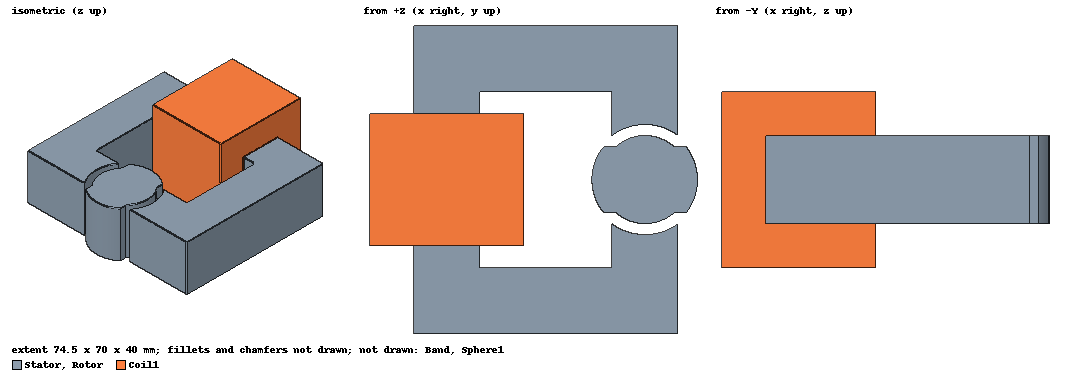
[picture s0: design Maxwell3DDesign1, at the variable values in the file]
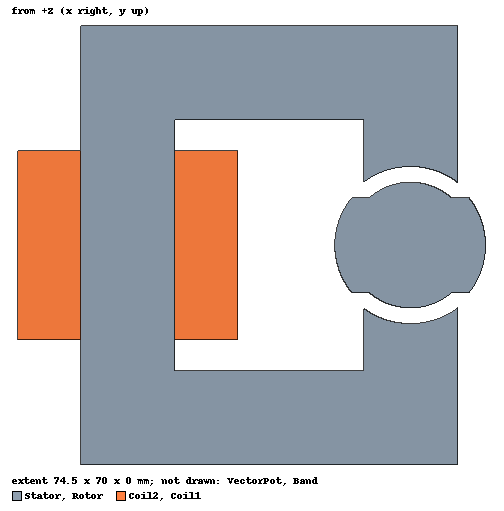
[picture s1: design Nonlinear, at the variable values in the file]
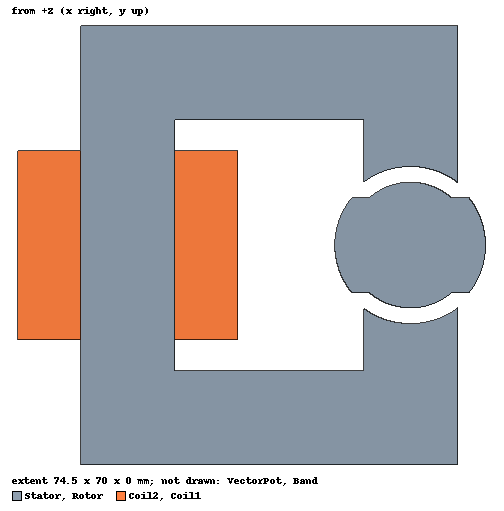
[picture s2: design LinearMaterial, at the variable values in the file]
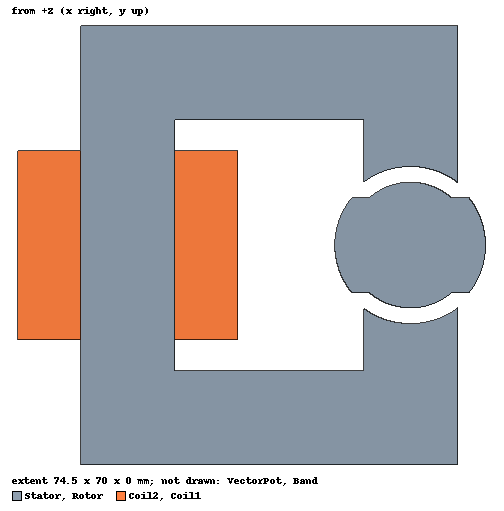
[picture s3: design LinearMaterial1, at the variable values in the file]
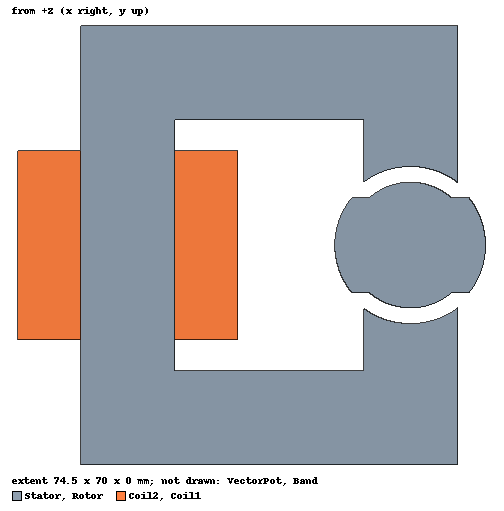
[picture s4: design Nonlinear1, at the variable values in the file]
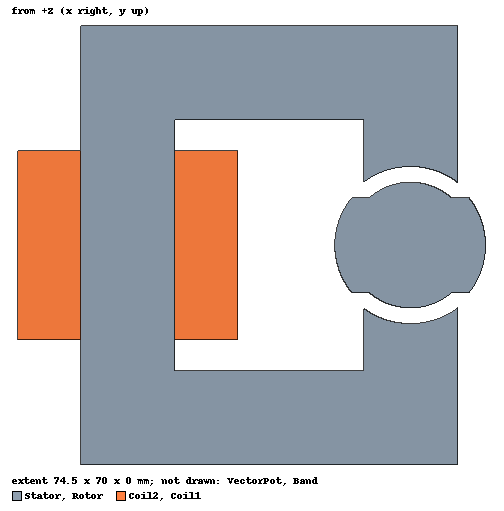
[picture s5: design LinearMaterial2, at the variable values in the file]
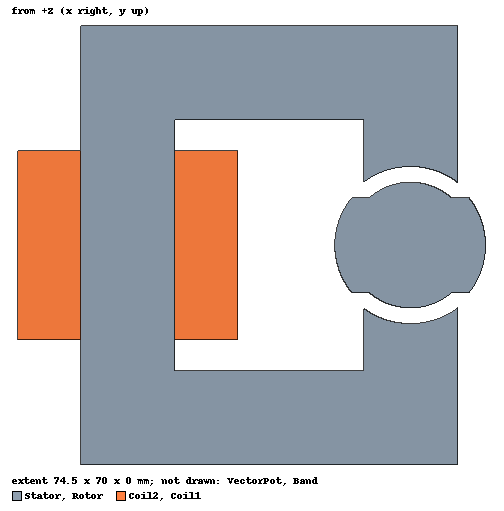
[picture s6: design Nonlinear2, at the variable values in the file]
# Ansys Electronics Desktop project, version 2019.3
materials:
  vacuum: permittivity=1
  copper: permeability=0.999991 conductivity=58000000
  m270-35a: permeability{HUnit=A_per_meter BUnit=tesla curve (0, 0) (30, 0.1) (39.6, 0.2) (46, 0.3) (52, 0.4) (58.2, 0.5) (65.2, 0.6) (73.3, 0.7) (83.1, 0.8) (95.5, 0.9) (112, 1) (136, 1.1) (178, 1.2) (272, 1.3) (596, 1.4) (1700, 1.5) (3880, 1.6) (7160, 1.7) (11600, 1.8)} conductivity=1/52*1e8
  m270-35a-lin: permeability{HUnit=A_per_meter BUnit=tesla curve (0, 0) (30, 0.1) (39.6, 0.2) (46, 0.3) (52, 0.4) (58.2, 0.5) (65.2, 0.6) (73.3, 0.7) (83.1, 0.8) (95.5, 0.9) (112, 1) (136, 1.1) (178, 1.2) (272, 1.3) (596, 1.4) (1700, 1.5) (3880, 1.6) (7160, 1.7) (11600, 1.8)} conductivity=1/52*1e8
  m270-35a-lin1: permeability=5000 conductivity=1/52*1e8

design Maxwell3DDesign1 (Maxwell 3D, Transient, model units mm)
options: ComputeTransientInductance Multiplier=1
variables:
  angle = 90deg
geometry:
  Stator [m270-35a-lin] = rectangle(corner=(0mm, 0mm, 0mm), x_size=60mm, y_size=70mm)
  Rectangle2 = rectangle(corner=(15mm, 15mm, 0mm), x_size=30mm, y_size=40mm)
  Stator.subtract(Rectangle2)
  Circle1 = circle(normal=Z, centre=(52.5mm, 35mm, 0mm), radius=12.5mm)
  Stator.subtract(Circle1)
  Circle2 = circle(normal=Z, centre=(52.5mm, 35mm, 0mm), radius=12mm)
  Rectangle3 = rectangle(corner=(45mm, 50mm, 0mm), x_size=15mm, y_size=-31.25mm)
  Circle2.intersect(Rectangle3)
  Rotor [m270-35a-lin] = circle(normal=Z, centre=(52.5mm, 35mm, 0mm), radius=10mm)
  Rotor.unite(Circle2)
  Coil1 [copper] = rectangle(corner=(0mm, 20mm, 0mm), x_size=-10mm, y_size=30mm)
  Coil2 = Coil1.duplicate_mirror(point=(0mm, 20mm, 0mm), normal=(1mm, 0mm, 0mm))
  Coil2.move(15mm, 0mm, 0mm)
  coordinate_system RelativeCS1 = origin=(52.5mm, 35mm, 0mm) x=(1mm, 0mm, 0mm) y=(0mm, 1mm, 0mm)
  Rotor.rotate(axis=Z, angle=angle) in RelativeCS1
  Band [vacuum] = circle(normal=Z, centre=(0mm, 0mm, 0mm), radius=12.206556mm) in RelativeCS1
  [Stator, Rotor, Coil1, Coil2].sweep_along_vector((0meter, 0meter, 20mm))
  Band.sweep_along_vector((0meter, 0meter, 25mm))
  Box1 = box(corner=(25mm, 50mm, 20mm), size=(-35mm, -30mm, 10mm))
  Box1_1 = Box1.duplicate_along_line(step=(0mm, 0mm, -30mm), total=2)
  Coil1.unite(Box1, Coil2, Box1_1)
  Coil1.fillet(Edges=Coil1.edge(3 of 12, 7 of 12, 5 of 12, 1 of 12) Radius=10mm Setback=0mm)
  Rectangle4 [non-model] = rectangle(corner=(7.5mm, 20mm, 30mm), y_size=30mm, z_size=-10mm)
  Sphere1 [vacuum] = sphere(centre=(0mm, 0mm, 0mm), radius=134.53624mm)
  Band.move(0mm, 0mm, -2.5mm)
  coordinate_system RelativeCS2 = origin=(52.5mm, 35mm, 22.5mm) x=(1mm, 0mm, 0mm) y=(0mm, 1mm, 0mm)
  Rectangle5 = rectangle(corner=(15mm, 50mm, 10mm), x_size=10mm, y_size=-30mm)
  Rectangle5_1 = Rectangle5.duplicate_along_line(step=(-25mm, 0mm, 0mm), total=2)
  Rectangle6 [non-model] = rectangle(corner=(-100mm, -100mm, 10mm), x_size=260mm, y_size=270mm)
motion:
  MotionSetup1: Band Move_Type=Rotate Coordinate_System=RelativeCS2 Axis=Z Is_Positive=true InitPos=45deg Angular_Velocity=0rpm Moment_of_Inertia=0.0001 Damping=0 Load_Torque=0NewtonMeter Objects=Band
  Moving1: Moving Objects=Rotor
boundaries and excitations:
  ZeroTangentialHField1: Zero Tangential H Field Faces=Sphere1.face(1 of 1)
  Insulating1: Insulating Faces=Coil1.face(#227, 1 of 6, #243, 2 of 6)
  CoilTerminal2: Coil Terminal Objects=Rectangle5 Conductor_number=250 Winding=Winding1 Point_out_of_terminal=true
  Winding1: Winding Group Type=Current IsSolid=false Current=3A ParallelBranchesNum=1
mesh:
  SurfApprox1: SurfApproxBased Objects=[Stator, Rotor, Coil1, Band] CurvedSurfaceApproxChoice=UseSlider SliderMeshSettings=8
  Length1: LengthBased RefineInside Objects=[Stator, Rotor, Coil1, Band] MaxLength=5mm
  CylindricalGap1: CylindricalGap BandMappingAngle=3deg MovingSideLayers=1 StaticSideLayers=1 Objects=Band
  initial mesh: GlobalCurvilinear{Apply}
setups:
  Setup1: Transient NonlinearSolverResidual=0.005 ScalarPotential="Second Order" StopTime=1s TimeStep="(1/500) s" SaveFieldsType="Every N Steps" N_Steps=1 Steps_From=0s Steps_To=3s NumberSolveSteps=1 RangeStart=0s RangeEnd=0.1s
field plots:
  Mesh1: MeshPlots on Setup1 : Transient at Time=-1
  Mesh2: MeshPlots on Setup1 : Transient at Time=0s
  J_Vector2: J on Setup1 : Transient at Time=0s
  Mag_B1, Mag_B2, B_Vector2: B on Setup1 : Transient at Time=0.05s
  Mesh3: MeshPlots on Setup1 : Transient at Time=0.05s
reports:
  Torque Plot 1: Moving1.Torque vs Time on Setup1 : Transient; markers m1 at 295ms
  Winding Plot 1: L(Winding1,Winding1) vs Time on Setup1 : Transient
  Speed Plot 1: Moving1.Speed vs Time on Setup1 : Transient
  Calculator Expressions Plot 1: tot_en, tot_coen vs Time on Setup1 : Transient
   Plot 1: L(Winding1,Winding1)*1/2*InputCurrent(Winding1)^2 vs Time on Setup1 : Transient

design Nonlinear (Maxwell 2D, Transient, XY geometry, model units mm)
options: ComputeTransientInductance ModelDepth=20mm Multiplier=1
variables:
  t_stop = 1s
  t_step = t_stop/500
  angle = 90deg
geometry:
  Stator [m270-35a] = rectangle(corner=(0mm, 0mm, 0mm), x_size=60mm, y_size=70mm)
  Rectangle2 = rectangle(corner=(15mm, 15mm, 0mm), x_size=30mm, y_size=40mm)
  Stator.subtract(Rectangle2)
  point Point1 = (52.5mm, 35mm, 0mm)
  Circle1 = circle(normal=Z, centre=(52.5mm, 35mm, 0mm), radius=12.5mm)
  Stator.subtract(Circle1)
  Circle2 = circle(normal=Z, centre=(52.5mm, 35mm, 0mm), radius=12mm)
  Rectangle3 = rectangle(corner=(45mm, 50mm, 0mm), x_size=15mm, y_size=-31.25mm)
  Circle2.intersect(Rectangle3)
  Rotor [m270-35a] = circle(normal=Z, centre=(52.5mm, 35mm, 0mm), radius=10mm)
  Rotor.unite(Circle2)
  Coil1 [copper] = rectangle(corner=(0mm, 20mm, 0mm), x_size=-10mm, y_size=30mm)
  Coil2 [copper] = Coil1.duplicate_mirror(point=(0mm, 20mm, 0mm), normal=(1mm, 0mm, 0mm))
  Coil2.move(15mm, 0mm, 0mm)
  VectorPot [vacuum] = circle(normal=Z, centre=(30mm, 35mm, 0mm), radius=67.082039mm)
  coordinate_system RelativeCS1 = origin=(52.5mm, 35mm, 0mm) x=(1mm, 0mm, 0mm) y=(0mm, 1mm, 0mm)
  Rotor.rotate(axis=Z, angle=angle) in RelativeCS1
  Band [vacuum] = circle(normal=Z, centre=(0mm, 0mm, 0mm), radius=12.206556mm) in RelativeCS1
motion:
  MotionSetup1: Band Move_Type=Rotate Coordinate_System=RelativeCS1 Axis=Z Is_Positive=true InitPos=angle-45deg Angular_Velocity=0rpm Moment_of_Inertia=0.0001 Damping=0 Load_Torque=0NewtonMeter Objects=Band
  Moving1: Moving Objects=Rotor
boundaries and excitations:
  VectorPotential1: Vector Potential Edges=VectorPot.edge(1 of 1) Value=0
  Coil2: Coil Objects=Coil2 Conductor_number=250 Winding=Winding1 PolarityType=Negative
  Coil1: Coil Objects=Coil1 Conductor_number=250 Winding=Winding1 PolarityType=Positive
  Winding1: Winding Group Type=External IsSolid=false Current=3*sin(2*pi*10*time) ParallelBranchesNum=1
  external circuit: "* Design: project1_ckt"
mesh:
  Length1: LengthBased Objects=[Coil1, Coil2, Rotor, Stator] MaxLength=3mm
  SurfApprox1: SurfApproxBased Objects=[Coil1, Stator, Coil2, Rotor] CurvedSurfaceApproxChoice=UseSlider SliderMeshSettings=9
  initial mesh: MeshMethod=AnsoftTAU
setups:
  Setup1: Transient NonlinearSolverResidual=1e-07 StopTime=t_stop TimeStep=t_step SaveFieldsType="Every N Steps" N_Steps=1 Steps_From=0s Steps_To=t_stop NumberSolveSteps=1 RangeStart=0s RangeEnd=0.1s InitialTimeStep=0.002s MinTimeStep=0.001s MaxTimeStep=0.003s TimeStepErrTolerance=0.0001
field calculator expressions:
  tot_enerji = energy | EnterVolume(AllObjects) | VolumeValue | Integrate
  tot_coen = coEnergy | EnterVolume(AllObjects) | VolumeValue | Integrate
  hdb = Fundamental_Quantity(21) | Fundamental_Quantity(22) | Dot | EnterVolume(AllObjects) | VolumeValue | Integrate
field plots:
  Mesh1: MeshPlots over Stator, Rotor, Coil1, Coil2, VectorPot, Band on Setup1 : Transient at Time=-1
  Mag_B1, B_Vector1: B over Stator, Rotor, Coil1, Coil2, VectorPot on Setup1 : Transient at Time=-1
  Flux_Lines1: A over Stator, Rotor, Coil1, Coil2, VectorPot, Band on Setup1 : Transient at Time=-1
  coEnergy1: Energy over Stator, Rotor, Coil1, Coil2, VectorPot, Band on Setup1 : Transient at Time=-1
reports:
  Torque Plot 1: Moving1.Torque vs Time on Setup1 : Transient [t_stop=all]
  Inductance: L(Winding1,Winding1) vs Time on Setup1 : Transient
  Rotor Speed: Moving1.Speed vs Time on Setup1 : Transient
  Magnetic Energy of the System: tot_enerji/50, tot_coen/50 vs Time on Setup1 : Transient; L(Winding1,Winding1)*1/2*InputCurrent(Winding1)^2 vs Time
  Coil Current: Current(Winding1) vs Time on Setup1 : Transient

design LinearMaterial (Maxwell 2D, Transient, XY geometry, model units mm)
options: ComputeTransientInductance ModelDepth=20mm Multiplier=1
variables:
  t_stop = 1s
  t_step = t_stop/500
  angle = 90deg
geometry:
  Stator [m270-35a-lin1] = rectangle(corner=(0mm, 0mm, 0mm), x_size=60mm, y_size=70mm)
  Rectangle2 = rectangle(corner=(15mm, 15mm, 0mm), x_size=30mm, y_size=40mm)
  Stator.subtract(Rectangle2)
  point Point1 = (52.5mm, 35mm, 0mm)
  Circle1 = circle(normal=Z, centre=(52.5mm, 35mm, 0mm), radius=12.5mm)
  Stator.subtract(Circle1)
  Circle2 = circle(normal=Z, centre=(52.5mm, 35mm, 0mm), radius=12mm)
  Rectangle3 = rectangle(corner=(45mm, 50mm, 0mm), x_size=15mm, y_size=-31.25mm)
  Circle2.intersect(Rectangle3)
  Rotor [m270-35a-lin1] = circle(normal=Z, centre=(52.5mm, 35mm, 0mm), radius=10mm)
  Rotor.unite(Circle2)
  Coil1 [copper] = rectangle(corner=(0mm, 20mm, 0mm), x_size=-10mm, y_size=30mm)
  Coil2 [copper] = Coil1.duplicate_mirror(point=(0mm, 20mm, 0mm), normal=(1mm, 0mm, 0mm))
  Coil2.move(15mm, 0mm, 0mm)
  VectorPot [vacuum] = circle(normal=Z, centre=(30mm, 35mm, 0mm), radius=67.082039mm)
  coordinate_system RelativeCS1 = origin=(52.5mm, 35mm, 0mm) x=(1mm, 0mm, 0mm) y=(0mm, 1mm, 0mm)
  Rotor.rotate(axis=Z, angle=angle) in RelativeCS1
  Band [vacuum] = circle(normal=Z, centre=(0mm, 0mm, 0mm), radius=12.206556mm) in RelativeCS1
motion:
  MotionSetup1: Band Move_Type=Rotate Coordinate_System=RelativeCS1 Axis=Z Is_Positive=true InitPos=angle-45deg Angular_Velocity=0rpm Moment_of_Inertia=0.0001 Damping=0 Load_Torque=0NewtonMeter Objects=Band
  Moving1: Moving Objects=Rotor
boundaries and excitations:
  VectorPotential1: Vector Potential Edges=VectorPot.edge(1 of 1) Value=0
  Rectangle4: Coil Objects=Coil1 Conductor_number=250 Winding=Winding1 PolarityType=Positive
  Rectangle4_1: Coil Objects=Coil2 Conductor_number=250 Winding=Winding1 PolarityType=Negative
  Winding1: Winding Group Type=Current IsSolid=false Current=3A ParallelBranchesNum=1
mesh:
  Length1: LengthBased Objects=[Coil1, Coil2, Rotor, Stator] MaxLength=3mm
  SurfApprox1: SurfApproxBased Objects=[Coil1, Stator, Coil2, Rotor] CurvedSurfaceApproxChoice=UseSlider SliderMeshSettings=9
  initial mesh: MeshMethod=AnsoftTAU
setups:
  Setup1: Transient NonlinearSolverResidual=1e-07 StopTime=t_stop TimeStep=t_step SaveFieldsType="Every N Steps" N_Steps=1 Steps_From=0s Steps_To=t_stop NumberSolveSteps=1 RangeStart=0s RangeEnd=0.1s InitialTimeStep=0.002s MinTimeStep=0.001s MaxTimeStep=0.003s TimeStepErrTolerance=0.0001
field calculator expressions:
  tot_enerji = energy | EnterVolume(AllObjects) | VolumeValue | Integrate
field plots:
  Mesh1: MeshPlots over Stator, Rotor, Coil1, Coil2, VectorPot on Setup1 : Transient at Time=-1
  Mag_B1: B over Stator, Rotor, Coil1, Coil2, VectorPot, Band on Setup1 : Transient at Time=-1
  B_Vector1: B over Stator, Rotor, Coil1, Coil2, VectorPot on Setup1 : Transient at Time=0.048s
  Flux_Lines1: A over Stator, Rotor, Coil1, Coil2, VectorPot, Band on Setup1 : Transient at Time=-1
  Jz1: J over Stator, Rotor, Coil1, Coil2, VectorPot, Band on Setup1 : Transient at Time=-1
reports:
  Torque Plot 1: Moving1.Torque vs Time on Setup1 : Transient [t_stop=all]
  Inductance: L(Winding1,Winding1) vs Time on Setup1 : Transient; markers m1 at 48000000ns, m2 at 0.098s
  Speed Plot 1: Moving1.Speed vs Time on Setup1 : Transient
   Plot 1: L(Winding1,Winding1)*1/2*(InputCurrent(Winding1)^2) vs Time on Setup1 : Transient; tot_enerji vs Time
  Magnetic Energy: tot_enerji/50 vs Time on Setup1 : Transient; L(Winding1,Winding1)*1/2*(InputCurrent(Winding1)^2) vs Time; markers m1 at 0.05s, m2 at 0.098s

design LinearMaterial1 (Maxwell 2D, Transient, XY geometry, model units mm)
options: ComputeTransientInductance ModelDepth=20mm Multiplier=1
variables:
  t_stop = 1s
  t_step = t_stop/500
  angle = 90deg
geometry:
  Stator [m270-35a-lin1] = rectangle(corner=(0mm, 0mm, 0mm), x_size=60mm, y_size=70mm)
  Rectangle2 = rectangle(corner=(15mm, 15mm, 0mm), x_size=30mm, y_size=40mm)
  Stator.subtract(Rectangle2)
  point Point1 = (52.5mm, 35mm, 0mm)
  Circle1 = circle(normal=Z, centre=(52.5mm, 35mm, 0mm), radius=12.5mm)
  Stator.subtract(Circle1)
  Circle2 = circle(normal=Z, centre=(52.5mm, 35mm, 0mm), radius=12mm)
  Rectangle3 = rectangle(corner=(45mm, 50mm, 0mm), x_size=15mm, y_size=-31.25mm)
  Circle2.intersect(Rectangle3)
  Rotor [m270-35a-lin1] = circle(normal=Z, centre=(52.5mm, 35mm, 0mm), radius=10mm)
  Rotor.unite(Circle2)
  Coil1 [copper] = rectangle(corner=(0mm, 20mm, 0mm), x_size=-10mm, y_size=30mm)
  Coil2 [copper] = Coil1.duplicate_mirror(point=(0mm, 20mm, 0mm), normal=(1mm, 0mm, 0mm))
  Coil2.move(15mm, 0mm, 0mm)
  VectorPot [vacuum] = circle(normal=Z, centre=(30mm, 35mm, 0mm), radius=67.082039mm)
  coordinate_system RelativeCS1 = origin=(52.5mm, 35mm, 0mm) x=(1mm, 0mm, 0mm) y=(0mm, 1mm, 0mm)
  Rotor.rotate(axis=Z, angle=angle) in RelativeCS1
  Band [vacuum] = circle(normal=Z, centre=(0mm, 0mm, 0mm), radius=12.206556mm) in RelativeCS1
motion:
  MotionSetup1: Band Move_Type=Rotate Coordinate_System=RelativeCS1 Axis=Z Is_Positive=true InitPos=angle+90deg Angular_Velocity=0rpm Moment_of_Inertia=0.0001 Damping=0 Load_Torque=0NewtonMeter Objects=Band
  Moving1: Moving Objects=Rotor
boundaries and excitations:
  VectorPotential1: Vector Potential Edges=VectorPot.edge(1 of 1) Value=0
  Rectangle4: Coil Objects=Coil1 Conductor_number=250 Winding=Winding1 PolarityType=Positive
  Rectangle4_1: Coil Objects=Coil2 Conductor_number=250 Winding=Winding1 PolarityType=Negative
  Winding1: Winding Group Type=Current IsSolid=false Current=3A ParallelBranchesNum=1
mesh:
  Length1: LengthBased Objects=[Coil1, Coil2, Rotor, Stator] MaxLength=3mm
  SurfApprox1: SurfApproxBased Objects=[Coil1, Stator, Coil2, Rotor] CurvedSurfaceApproxChoice=UseSlider SliderMeshSettings=9
  initial mesh: MeshMethod=AnsoftTAU
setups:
  Setup1: Transient NonlinearSolverResidual=1e-07 StopTime=t_stop TimeStep=t_step SaveFieldsType="Every N Steps" N_Steps=1 Steps_From=0s Steps_To=t_stop NumberSolveSteps=1 RangeStart=0s RangeEnd=0.1s InitialTimeStep=0.002s MinTimeStep=0.001s MaxTimeStep=0.003s TimeStepErrTolerance=0.0001
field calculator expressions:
  tot_enerji = energy | EnterVolume(AllObjects) | VolumeValue | Integrate
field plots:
  Mesh1: MeshPlots over Stator, Rotor, Coil1, Coil2, VectorPot on Setup1 : Transient at Time=0s
  Mag_B1: B over Stator, Rotor, Coil1, Coil2, VectorPot, Band on Setup1 : Transient at Time=0s
  B_Vector1: B over Stator, Rotor, Coil1, Coil2, VectorPot on Setup1 : Transient at Time=0s
  Flux_Lines1: A over Stator, Rotor, Coil1, Coil2, VectorPot, Band on Setup1 : Transient at Time=0s
  Jz1: J over Stator, Rotor, Coil1, Coil2, VectorPot, Band on Setup1 : Transient at Time=0s
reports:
  Torque Plot 1: Moving1.Torque vs Time on Setup1 : Transient [t_stop=all]; markers m1 at 0.775s
  Inductance at thet = 0deg: L(Winding1,Winding1), L(Winding1,Winding1)*1/2*InputCurrent(Winding1)^2 vs Time on Setup1 : Transient
  Speed Plot 1: Moving1.Speed vs Time on Setup1 : Transient
   Plot 1: L(Winding1,Winding1)*1/2*(InputCurrent(Winding1)^2) vs Time on Setup1 : Transient; tot_enerji vs Time
  Total Energy: tot_enerji/50 vs Time on Setup1 : Transient; L(Winding1,Winding1)*1/2*InputCurrent(Winding1)^2 vs Time

design Nonlinear1 (Maxwell 2D, Transient, XY geometry, model units mm)
options: ComputeTransientInductance ModelDepth=20mm Multiplier=1
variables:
  t_stop = 1s
  t_step = t_stop/500
  angle = 90deg
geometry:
  Stator [m270-35a] = rectangle(corner=(0mm, 0mm, 0mm), x_size=60mm, y_size=70mm)
  Rectangle2 = rectangle(corner=(15mm, 15mm, 0mm), x_size=30mm, y_size=40mm)
  Stator.subtract(Rectangle2)
  point Point1 = (52.5mm, 35mm, 0mm)
  Circle1 = circle(normal=Z, centre=(52.5mm, 35mm, 0mm), radius=12.5mm)
  Stator.subtract(Circle1)
  Circle2 = circle(normal=Z, centre=(52.5mm, 35mm, 0mm), radius=12mm)
  Rectangle3 = rectangle(corner=(45mm, 50mm, 0mm), x_size=15mm, y_size=-31.25mm)
  Circle2.intersect(Rectangle3)
  Rotor [m270-35a] = circle(normal=Z, centre=(52.5mm, 35mm, 0mm), radius=10mm)
  Rotor.unite(Circle2)
  Coil1 [copper] = rectangle(corner=(0mm, 20mm, 0mm), x_size=-10mm, y_size=30mm)
  Coil2 [copper] = Coil1.duplicate_mirror(point=(0mm, 20mm, 0mm), normal=(1mm, 0mm, 0mm))
  Coil2.move(15mm, 0mm, 0mm)
  VectorPot [vacuum] = circle(normal=Z, centre=(30mm, 35mm, 0mm), radius=67.082039mm)
  coordinate_system RelativeCS1 = origin=(52.5mm, 35mm, 0mm) x=(1mm, 0mm, 0mm) y=(0mm, 1mm, 0mm)
  Rotor.rotate(axis=Z, angle=angle) in RelativeCS1
  Band [vacuum] = circle(normal=Z, centre=(0mm, 0mm, 0mm), radius=12.206556mm) in RelativeCS1
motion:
  MotionSetup1: Band Move_Type=Rotate Coordinate_System=RelativeCS1 Axis=Z Is_Positive=true InitPos=angle+90deg Angular_Velocity=0rpm Moment_of_Inertia=0.0001 Damping=0 Load_Torque=0NewtonMeter Objects=Band
  Moving1: Moving Objects=Rotor
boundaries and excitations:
  VectorPotential1: Vector Potential Edges=VectorPot.edge(1 of 1) Value=0
  Coil2: Coil Objects=Coil2 Conductor_number=250 Winding=Winding1 PolarityType=Negative
  Coil1: Coil Objects=Coil1 Conductor_number=250 Winding=Winding1 PolarityType=Positive
  Winding1: Winding Group Type=Current IsSolid=false Current=3A ParallelBranchesNum=1
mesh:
  Length1: LengthBased Objects=[Coil1, Coil2, Rotor, Stator] MaxLength=3mm
  SurfApprox1: SurfApproxBased Objects=[Coil1, Stator, Coil2, Rotor] CurvedSurfaceApproxChoice=UseSlider SliderMeshSettings=9
  initial mesh: MeshMethod=AnsoftTAU
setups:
  Setup1: Transient NonlinearSolverResidual=1e-07 StopTime=t_stop TimeStep=t_step SaveFieldsType="Every N Steps" N_Steps=1 Steps_From=0s Steps_To=t_stop NumberSolveSteps=1 RangeStart=0s RangeEnd=0.1s InitialTimeStep=0.002s MinTimeStep=0.001s MaxTimeStep=0.003s TimeStepErrTolerance=0.0001
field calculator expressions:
  tot_enerji = energy | EnterVolume(AllObjects) | VolumeValue | Integrate
  tot_coen = coEnergy | EnterVolume(AllObjects) | VolumeValue | Integrate
  hdb = Fundamental_Quantity(21) | Fundamental_Quantity(22) | Dot | EnterVolume(AllObjects) | VolumeValue | Integrate
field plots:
  Mesh1: MeshPlots over Stator, Rotor, Coil1, Coil2, VectorPot, Band on Setup1 : Transient at Time=-1
  Mag_B1: B over Stator, Rotor, Coil1, Coil2, VectorPot on Setup1 : Transient at Time=-1
  B_Vector1: B over Stator, Rotor, Coil1, Coil2, VectorPot on Setup1 : Transient at Time=0s
  Flux_Lines1: A over Stator, Rotor, Coil1, Coil2, VectorPot, Band on Setup1 : Transient at Time=-1
  coEnergy1: Energy over Stator, Rotor, Coil1, Coil2, VectorPot, Band on Setup1 : Transient at Time=-1
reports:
  Torque Plot 1: Moving1.Torque vs Time on Setup1 : Transient [t_stop=all]
  Inductance: L(Winding1,Winding1), L(Winding1,Winding1)*1/2*InputCurrent(Winding1)^2 vs Time on Setup1 : Transient
  Speed Plot 1: Moving1.Speed vs Time on Setup1 : Transient
  Magnetic Energy of the System: tot_enerji/50, tot_coen/50 vs Time on Setup1 : Transient; L(Winding1,Winding1)*1/2*InputCurrent(Winding1)^2 vs Time

design LinearMaterial2 (Maxwell 2D, Magnetostatic, XY geometry, model units mm)
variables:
  t_stop = 1s
  t_step = t_stop/500
  angle = 90deg
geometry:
  Stator [m270-35a-lin1] = rectangle(corner=(0mm, 0mm, 0mm), x_size=60mm, y_size=70mm)
  Rectangle2 = rectangle(corner=(15mm, 15mm, 0mm), x_size=30mm, y_size=40mm)
  Stator.subtract(Rectangle2)
  point Point1 = (52.5mm, 35mm, 0mm)
  Circle1 = circle(normal=Z, centre=(52.5mm, 35mm, 0mm), radius=12.5mm)
  Stator.subtract(Circle1)
  Circle2 = circle(normal=Z, centre=(52.5mm, 35mm, 0mm), radius=12mm)
  Rectangle3 = rectangle(corner=(45mm, 50mm, 0mm), x_size=15mm, y_size=-31.25mm)
  Circle2.intersect(Rectangle3)
  Rotor [m270-35a-lin1] = circle(normal=Z, centre=(52.5mm, 35mm, 0mm), radius=10mm)
  Rotor.unite(Circle2)
  Coil1 [copper] = rectangle(corner=(0mm, 20mm, 0mm), x_size=-10mm, y_size=30mm)
  Coil2 [copper] = Coil1.duplicate_mirror(point=(0mm, 20mm, 0mm), normal=(1mm, 0mm, 0mm))
  Coil2.move(15mm, 0mm, 0mm)
  VectorPot [vacuum] = circle(normal=Z, centre=(30mm, 35mm, 0mm), radius=67.082039mm)
  coordinate_system RelativeCS1 = origin=(52.5mm, 35mm, 0mm) x=(1mm, 0mm, 0mm) y=(0mm, 1mm, 0mm)
  Rotor.rotate(axis=Z, angle=angle) in RelativeCS1
  Band [vacuum] = circle(normal=Z, centre=(0mm, 0mm, 0mm), radius=12.206556mm) in RelativeCS1
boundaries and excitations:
  VectorPotential1: Vector Potential Edges=VectorPot.edge(1 of 1) Value=0
  Current1: Current Objects=Coil2 Current=750A IsPositive=true
  Current2: Current Objects=Coil1 Current=750A IsPositive=false
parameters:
  Matrix1: Matrix Current1: NumberOfTurns=1 ReturnPath=Current2
  Torque1: Torque Coordinate_System=RelativeCS1 Is_Positive=true Objects=Rotor
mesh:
  Length1: LengthBased Objects=[Coil1, Coil2, Rotor, Stator] MaxLength=3mm
  SurfApprox1: SurfApproxBased Objects=[Coil1, Stator, Coil2, Rotor] CurvedSurfaceApproxChoice=UseSlider SliderMeshSettings=9
  initial mesh: MeshMethod=AnsoftTAU
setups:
  Setup1: Magnetostatic MaximumPasses=10 MinimumPasses=3 MinimumConvergedPasses=2 PercentRefinement=30 PercentError=1 NonLinearResidual=0.0001
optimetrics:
  ParametricSetup1: Parametric Sim._Setups=[Setup1]
    sweep angle: LIN 0deg 360deg 1deg
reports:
   Plot 1: tot_enerji vs Time
  Magnetic Energy: L(Winding1,Winding1)*1/2*(InputCurrent(Winding1)^2) vs Time; markers m2 at 0.098s
  Torque: Torque1.Torque/50 vs angle on Setup1 : LastAdaptive
  Inductance: Matrix1.L(Current1,Current1)/50*250^2 vs angle on Setup1 : LastAdaptive

design Nonlinear2 (Maxwell 2D, Magnetostatic, XY geometry, model units mm)
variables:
  t_stop = 1s
  t_step = t_stop/500
  angle = 90deg
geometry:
  Stator [m270-35a] = rectangle(corner=(0mm, 0mm, 0mm), x_size=60mm, y_size=70mm)
  Rectangle2 = rectangle(corner=(15mm, 15mm, 0mm), x_size=30mm, y_size=40mm)
  Stator.subtract(Rectangle2)
  point Point1 = (52.5mm, 35mm, 0mm)
  Circle1 = circle(normal=Z, centre=(52.5mm, 35mm, 0mm), radius=12.5mm)
  Stator.subtract(Circle1)
  Circle2 = circle(normal=Z, centre=(52.5mm, 35mm, 0mm), radius=12mm)
  Rectangle3 = rectangle(corner=(45mm, 50mm, 0mm), x_size=15mm, y_size=-31.25mm)
  Circle2.intersect(Rectangle3)
  Rotor [m270-35a] = circle(normal=Z, centre=(52.5mm, 35mm, 0mm), radius=10mm)
  Rotor.unite(Circle2)
  Coil1 [copper] = rectangle(corner=(0mm, 20mm, 0mm), x_size=-10mm, y_size=30mm)
  Coil2 [copper] = Coil1.duplicate_mirror(point=(0mm, 20mm, 0mm), normal=(1mm, 0mm, 0mm))
  Coil2.move(15mm, 0mm, 0mm)
  VectorPot [vacuum] = circle(normal=Z, centre=(30mm, 35mm, 0mm), radius=67.082039mm)
  coordinate_system RelativeCS1 = origin=(52.5mm, 35mm, 0mm) x=(1mm, 0mm, 0mm) y=(0mm, 1mm, 0mm)
  Rotor.rotate(axis=Z, angle=angle) in RelativeCS1
  Band [vacuum] = circle(normal=Z, centre=(0mm, 0mm, 0mm), radius=12.206556mm) in RelativeCS1
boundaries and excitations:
  VectorPotential1: Vector Potential Edges=VectorPot.edge(1 of 1) Value=0
  Current1: Current Objects=Coil2 Current=750A IsPositive=true
  Current2: Current Objects=Coil1 Current=750A IsPositive=false
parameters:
  Matrix1: Matrix Current1: NumberOfTurns=1 ReturnPath=Current2
  Torque1: Torque Coordinate_System=RelativeCS1 Is_Positive=true Objects=Rotor
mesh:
  Length1: LengthBased Objects=[Coil1, Coil2, Rotor, Stator] MaxLength=3mm
  SurfApprox1: SurfApproxBased Objects=[Coil1, Stator, Coil2, Rotor] CurvedSurfaceApproxChoice=UseSlider SliderMeshSettings=9
  initial mesh: MeshMethod=AnsoftTAU
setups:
  Setup1: Magnetostatic MaximumPasses=10 MinimumPasses=3 MinimumConvergedPasses=2 PercentRefinement=30 PercentError=1 NonLinearResidual=1e-06
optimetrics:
  ParametricSetup1: Parametric Sim._Setups=[Setup1]
    sweep angle: LIN 0deg 360deg 1deg
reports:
  Magnetic Energy of the System: L(Winding1,Winding1)*1/2*InputCurrent(Winding1)^2 vs Time
  Torque: Torque1.Torque/50 vs angle on Setup1 : LastAdaptive
  Inductance: Matrix1.L(Current1,Current1)/50*250^2 vs angle on Setup1 : LastAdaptive; Matrix1.L(Current1,Current1)/50*250^2 vs angle; markers m1 at 180deg, m2 at 180deg

design project1_ckt (Maxwell Circuit)
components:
  Winding_2 = Winding(Name=Winding1)
  IPulse_11 = IPulse(Pw=0.05 I2=3A Period=0.1 Tr=0.002 Tf=0.002)
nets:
  0: Winding_2.1, IPulse_11.1
  net_2: Winding_2.0, IPulse_11.0
